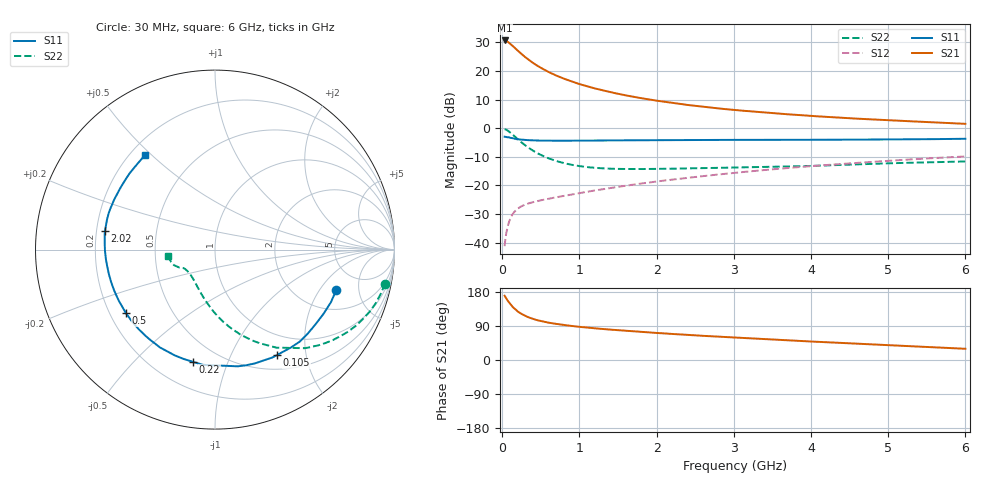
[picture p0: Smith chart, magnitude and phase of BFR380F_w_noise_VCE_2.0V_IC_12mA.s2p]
! Infineon Technologies  Discrete & RF Semiconductors
! BFR380F
! VCE =  2.0 V,  IC =  12 mA
! Common Emitter S-Parameters:  Nov 2015
# GHz  S  MA  R  50
!  f  S11  S21  S12  S22
! GHz  MAG  ANG  MAG  ANG  MAG  ANG  MAG  ANG
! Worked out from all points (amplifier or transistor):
!   206 points, 30 MHz to 6 GHz, reference 50 ohm
!   highest |S21| = 30.7 dB at 30 MHz (marker M1)
!   |S21| within 3 dB of that: start of sweep to 178.3 MHz
!   unconditionally stable (mu >= 1): 1.622 GHz to 5.236 GHz
!   at 200 MHz: K = 0.26, MSG = 27.6 dB, |S12| = -28.1 dB
!   at 1.56 GHz: K = 0.99, MSG = 16.0 dB, |S12| = -20.2 dB
!   at 6 GHz: K = 0.99, MSG = 5.7 dB, |S12| = -9.9 dB
!   lowest NFmin = 0.90 dB at 900 MHz
!   S11 on the Smith chart (normalised r, x): 30 MHz: 3.18, -2.89; 105 MHz: 0.69, -1.52; 220 MHz: 0.36, -0.76; 500 MHz: 0.27, -0.30; 2.02 GHz: 0.23, +0.08; 6 GHz: 0.26, +0.47
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0.03  0.7122 -18.3  34.21 169.6  0.0087 82.4  0.9667 -11.3
0.05  0.7028 -30.4  33.6 162.5  0.0143 75.9  0.944 -18.5
0.07  0.6974 -42.2  32.38 156.5  0.0191 72.0  0.9098 -25.3
0.09  0.69 -52.4  30.92 151.0  0.0237 67.5  0.8706 -31.7
0.105  0.6816 -59.6  29.78 147.1  0.0265 64.5  0.8383 -36.0
0.12  0.6742 -66.5  28.6 143.4  0.0294 61.9  0.8062 -40.2
0.15  0.6625 -79.0  26.33 136.9  0.0339 57.5  0.7426 -47.7
0.2  0.6457 -96.0  22.73 128.0  0.0395 52.1  0.6451 -57.9
0.22  0.6373 -101.0  21.52 125.6  0.0411 50.6  0.6115 -60.9
0.28  0.6263 -115.0  18.31 118.3  0.0454 47.2  0.5242 -70.0
0.34  0.619 -125.8  15.77 112.7  0.0486 45.4  0.4565 -77.4
0.4  0.6142 -134.1  13.78 108.2  0.0512 44.6  0.4042 -83.6
0.5  0.6094 -144.5  11.35 102.7  0.0551 44.6  0.3409 -92.0
0.7  0.6064 -157.8  8.321 95.2  0.0623 46.7  0.2674 -105.1
0.9  0.6069 -166.2  6.55 89.8  0.0698 49.5  0.2297 -115.1
1.04  0.6076 -170.8  5.706 86.7  0.0753 51.4  0.2143 -120.9
1.4  0.6131 -179.5  4.272 80.2  0.0903 55.2  0.1965 -132.6
2.02  0.6216 170.4  3.007 71.2  0.1183 59.1  0.195 -143.0
3.1  0.6259 157.9  2.034 58.4  0.1708 60.9  0.2071 -150.3
4.1  0.6291 147.2  1.611 47.9  0.2227 59.4  0.2218 -153.0
5.1  0.6386 137.2  1.361 38.3  0.2751 56.4  0.2461 -160.2
6  0.655 126.7  1.195 29.6  0.3214 52.2  0.2629 -171.6
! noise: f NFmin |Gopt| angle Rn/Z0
0.45  0.92  0.1  136  0.09
0.9  0.9  0.19  145  0.08
1.8  1.16  0.33  171  0.07
1.9  1.24  0.34  172  0.07
2.4  1.37  0.37  -175  0.08
3.5  1.99  0.48  -158  0.11
